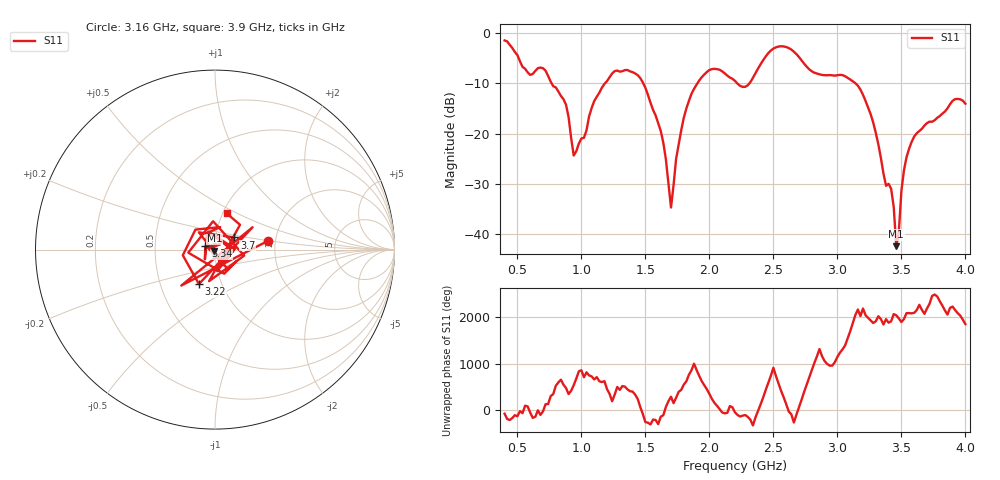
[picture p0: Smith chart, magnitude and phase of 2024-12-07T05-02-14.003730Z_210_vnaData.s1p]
!Created with skrf (http://scikit-rf.org).
# Hz S RI R 50.0
!freq ReS11 ImS11
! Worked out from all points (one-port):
!   181 points, 400 MHz to 4 GHz, reference 50 ohm
!   lowest |S11| = -42.4 dB at 3.46 GHz (marker M1), VSWR 1.02, Z = 49.7 - j0.672 ohm
!   |S11| at or under -10 dB: 767.9 MHz to 1.183 GHz (415.4 MHz wide, 42.6 % of centre); 1.484 GHz to 1.906 GHz (421.9 MHz wide, 24.9 % of centre); 3.143 GHz to end of sweep (the widest 3 of 4)
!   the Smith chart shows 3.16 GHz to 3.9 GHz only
!   S11 on the Smith chart (normalised r, x): 3.16 GHz: 1.83, +0.20; 3.22 GHz: 0.78, -0.31; 3.34 GHz: 0.90, +0.03; 3.7 GHz: 1.23, +0.17; 3.9 GHz: 1.04, +0.44
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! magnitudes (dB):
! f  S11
! 400 MHz  -1.4
! 860 MHz  -13.1
! 940 MHz  -24.3
! 1.1 GHz  -13.5
! 1.3 GHz  -7.6
! 1.5 GHz  -10.9
! 1.64 GHz  -21.8
! 1.7 GHz  -34.7
! 1.76 GHz  -22.1
! 1.84 GHz  -13.5
! 1.94 GHz  -8.8
! 2.2 GHz  -9.5
! 2.3 GHz  -10.4
! 2.5 GHz  -3.1
! 2.66 GHz  -3.7
! 3.1 GHz  -9.2
! 3.16 GHz  -10.5
! 3.22 GHz  -13.5
! 3.34 GHz  -24.9
! 3.38 GHz  -30.4
! 3.42 GHz  -31.0
! 3.46 GHz  -42.4
! 3.48 GHz  -39.5
! 3.52 GHz  -27.3
! 3.56 GHz  -23.0
! 3.7 GHz  -17.9
! 3.9 GHz  -13.5
! 4 GHz  -14.0
